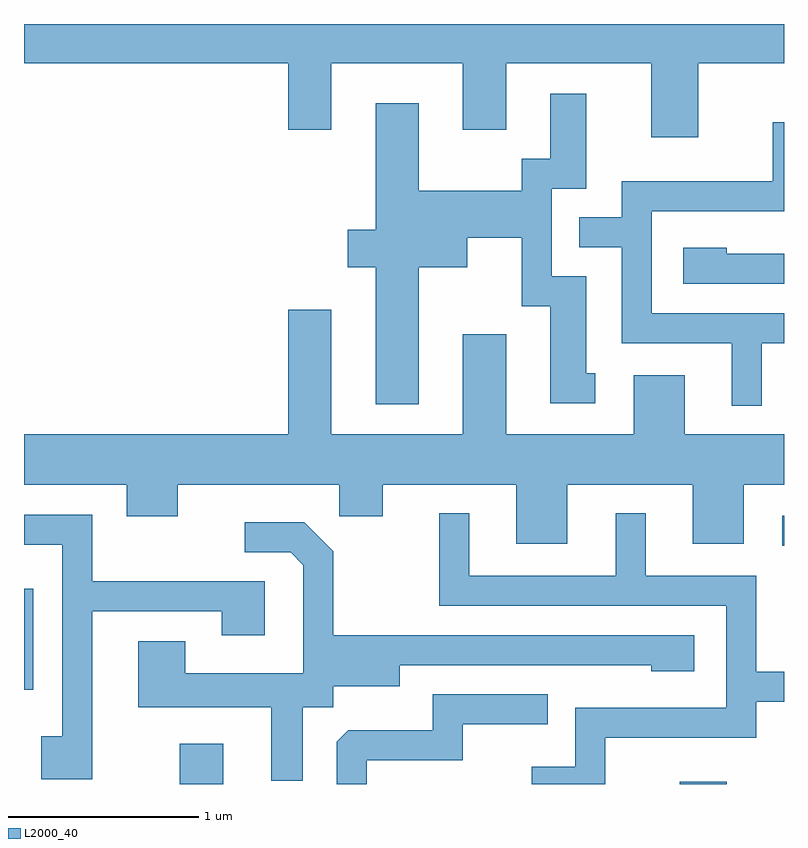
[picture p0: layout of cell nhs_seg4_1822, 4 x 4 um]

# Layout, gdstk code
import gdstk
lib = gdstk.Library(unit=1e-6, precision=1e-09)
def R(c, l, rs):  # rectangles x0, y0, x1, y1
    for r in rs: c.add(gdstk.rectangle(r[:2], r[2:], *l))
def P(c, l, *ps):  # polygons
    for p in ps: c.add(gdstk.Polygon(p, *l))
L2000_40 = (2000, 40)

nhs_seg4_1822 = lib.new_cell('nhs_seg4_1822')
R(nhs_seg4_1822, L2000_40, [(238.431,1361.982,238.659,1362.194), (241.061,1361.982,241.309,1361.994), (237.611,1362.478,237.659,1363.009), (241.603,1363.236,241.611,1363.394)])
P(nhs_seg4_1822, L2000_40, [(241.611,1365.982),(237.611,1365.982),(237.611,1365.776),(239.001,1365.776),(239.001,1365.426),(239.229,1365.426),(239.229,1365.776),(239.921,1365.776),(239.921,1365.426),(240.149,1365.426),(240.149,1365.776),(240.911,1365.776),(240.911,1365.386),(241.159,1365.386),(241.159,1365.776),(241.611,1365.776)],
  [(239.689,1364.701),(239.944,1364.701),(239.944,1364.856),(240.231,1364.856),(240.231,1364.496),(240.381,1364.496),(240.381,1363.986),(240.618,1363.986),(240.618,1364.144),(240.569,1364.144),(240.569,1364.654),(240.389,1364.654),(240.389,1365.116),(240.569,1365.116),(240.569,1365.614),(240.381,1365.614),(240.381,1365.274),(240.231,1365.274),(240.231,1365.104),(239.689,1365.104),(239.689,1365.564),(239.461,1365.564),(239.461,1364.899),(239.316,1364.899),(239.316,1364.701),(239.461,1364.701),(239.461,1363.981),(239.689,1363.981)],
  [(241.494,1364.301),(241.611,1364.301),(241.611,1364.459),(240.914,1364.459),(240.914,1364.996),(241.611,1364.996),(241.611,1365.464),(241.551,1365.464),(241.551,1365.154),(240.756,1365.154),(240.756,1364.964),(240.533,1364.964),(240.533,1364.806),(240.756,1364.806),(240.756,1364.301),(241.336,1364.301),(241.336,1363.973),(241.494,1363.973)],
  [(241.611,1364.774),(241.309,1364.774),(241.309,1364.804),(241.081,1364.804),(241.081,1364.616),(241.611,1364.616)],
  [(240.469,1363.556),(241.131,1363.556),(241.131,1363.246),(241.399,1363.246),(241.399,1363.556),(241.611,1363.556),(241.611,1363.824),(241.089,1363.824),(241.089,1364.134),(240.821,1364.134),(240.821,1363.824),(240.149,1363.824),(240.149,1364.349),(239.921,1364.349),(239.921,1363.824),(239.229,1363.824),(239.229,1364.479),(239.001,1364.479),(239.001,1363.824),(237.611,1363.824),(237.611,1363.556),(238.151,1363.556),(238.151,1363.391),(238.419,1363.391),(238.419,1363.556),(239.271,1363.556),(239.271,1363.391),(239.499,1363.391),(239.499,1363.556),(240.201,1363.556),(240.201,1363.246),(240.469,1363.246)],
  [(240.669,1362.226),(241.464,1362.226),(241.464,1362.416),(241.611,1362.416),(241.611,1362.574),(241.464,1362.574),(241.464,1363.079),(240.884,1363.079),(240.884,1363.408),(240.726,1363.408),(240.726,1363.079),(239.954,1363.079),(239.954,1363.408),(239.796,1363.408),(239.796,1362.921),(241.306,1362.921),(241.306,1362.384),(240.511,1362.384),(240.511,1362.074),(240.283,1362.074),(240.283,1361.982),(240.669,1361.982)],
  [(237.969,1362.891),(238.651,1362.891),(238.651,1362.766),(238.879,1362.766),(238.879,1363.049),(237.969,1363.049),(237.969,1363.399),(237.611,1363.399),(237.611,1363.241),(237.811,1363.241),(237.811,1362.234),(237.701,1362.234),(237.701,1362.006),(237.969,1362.006)],
  [(239.079,1362.386),(239.239,1362.386),(239.239,1362.496),(239.589,1362.496),(239.589,1362.606),(240.911,1362.606),(240.911,1362.576),(241.139,1362.576),(241.139,1362.764),(239.239,1362.764),(239.239,1363.207),(239.087,1363.359),(238.773,1363.359),(238.773,1363.201),(239.014,1363.201),(239.081,1363.134),(239.081,1362.564),(238.459,1362.564),(238.459,1362.734),(238.211,1362.734),(238.211,1362.386),(238.911,1362.386),(238.911,1361.998),(239.079,1361.998)],
  [(239.414,1362.106),(239.919,1362.106),(239.919,1362.296),(240.368,1362.296),(240.368,1362.454),(239.761,1362.454),(239.761,1362.264),(239.317,1362.264),(239.256,1362.204),(239.256,1361.982),(239.414,1361.982)])

lib.write_gds('nhs_seg4_1822.gds')
